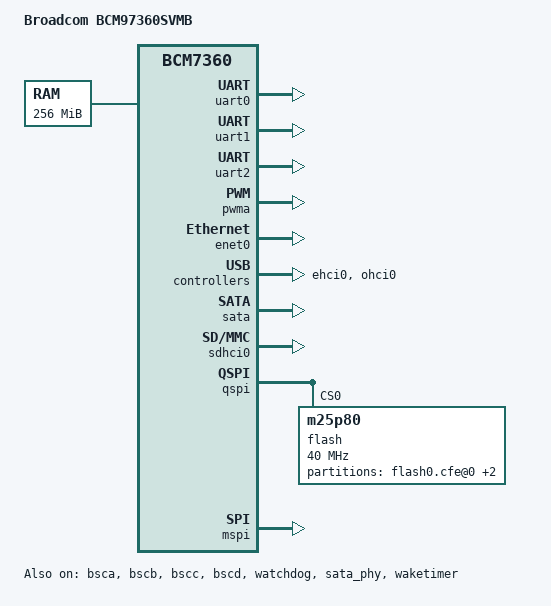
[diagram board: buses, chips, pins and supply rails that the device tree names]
// SPDX-License-Identifier: GPL-2.0
/dts-v1/;

#include "bcm7360.dtsi"

/ {
	compatible = "brcm,bcm97360svmb", "brcm,bcm7360";
	model = "Broadcom BCM97360SVMB";

	memory@0 {
		device_type = "memory";
		reg = <0x00000000 0x10000000>;
	};

	chosen {
		bootargs = "console=ttyS0,115200";
		stdout-path = &uart0;
	};
};

&uart0 {
	status = "okay";
};

&uart1 {
	status = "okay";
};

&uart2 {
	status = "okay";
};

&bsca {
	status = "okay";
};

&bscb {
	status = "okay";
};

&bscc {
	status = "okay";
};

&bscd {
	status = "okay";
};

&pwma {
	status = "okay";
};

&watchdog {
	status = "okay";
};

&enet0 {
	status = "okay";
};

&ehci0 {
	status = "okay";
};

&ohci0 {
	status = "okay";
};

&sata {
	status = "okay";
};

&sata_phy {
	status = "okay";
};

&sdhci0 {
	status = "okay";
};

&qspi {
	status = "okay";

	flash@0 {
		compatible = "m25p80";
		reg = <0>;
		spi-max-frequency = <40000000>;
		spi-cpol;
		spi-cpha;
		use-bspi;
		m25p,fast-read;

		partitions {
			compatible = "fixed-partitions";
			#address-cells = <1>;
			#size-cells = <1>;

			flash0.cfe@0 {
				reg = <0x0 0x200000>;
			};

			flash0.mac@200000 {
				reg = <0x200000 0x40000>;
			};

			flash0.nvram@240000 {
				reg = <0x240000 0x10000>;
			};
		};
	};
};

&mspi {
	status = "okay";
};

&waketimer {
	status = "okay";
};
